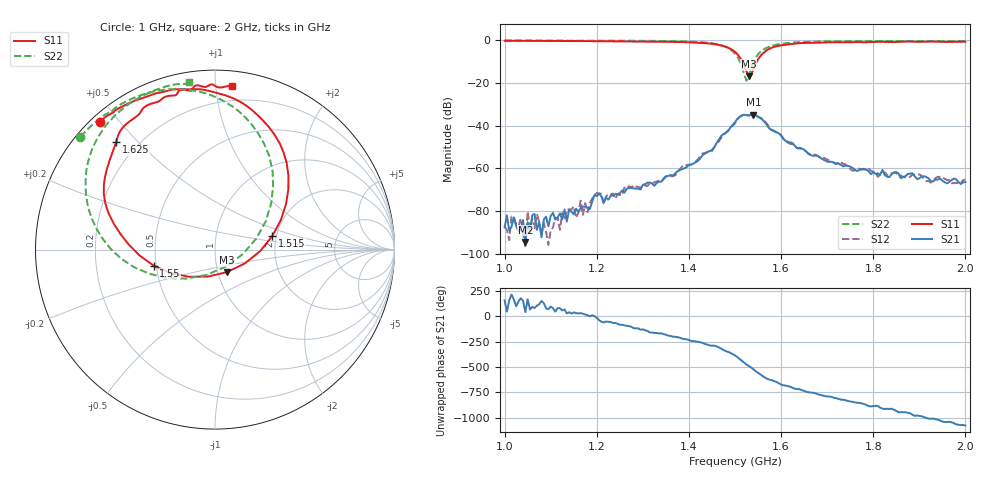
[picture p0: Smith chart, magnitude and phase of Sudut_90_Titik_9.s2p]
# Hz S RI R 50
! CMT, C1220, 16058040, 17.2.0/1
! Date: 14/08/2018 11:55:29
! Data: Format (Calibration Info)
! Freq  S11: Re/Im (F2)  S21: Re/Im (F2)  S12: Re/Im (F2)  S22: Re/Im (F2)
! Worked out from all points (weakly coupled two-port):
!   201 points, 1 GHz to 2 GHz, reference 50 ohm
!   highest |S21| = -34.79 dB at 1.54 GHz (marker M1); lowest = -94.3 dB at 1.045 GHz (marker M2)
!   lowest |S11| = -16.9 dB at 1.53 GHz (marker M3), VSWR 1.33, Z = 55.2 - j14.2 ohm
!   |S11| at or under -10 dB: 1.516 GHz to 1.548 GHz (31.88 MHz wide, 2.08 % of centre)
!   |S22| runs from -19.0 to -0.2 dB; largest |S21 - S12| = 0.00079
!   S11 on the Smith chart (normalised r, x): 1 GHz: 0.03, +0.44; 1.515 GHz: 1.90, +0.32; 1.55 GHz: 0.48, -0.10; 1.625 GHz: 0.12, +0.43; 2 GHz: 0.10, +1.10
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1e9  -0.6431 0.7105  -3.87e-05 1.69e-05  9.34e-06 -4.26e-05  -0.7501 0.6269
1.045e9  -0.6082 0.7405  1.49e-05 1.24e-05  -1.53e-05 -1.01e-06  -0.7185 0.6606
1.16e9  -0.4845 0.8136  8.74e-05 4.25e-05  7.81e-05 4.97e-05  -0.623 0.7452
1.165e9  -0.4785 0.8164  0.000102 6.05e-05  0.000176 1.94e-05  -0.6178 0.7487
1.17e9  -0.4712 0.8196  0.000118 5.01e-05  5.3e-05 6.34e-05  -0.6124 0.752
1.185e9  -0.4463 0.8297  0.000112 -3.13e-06  0.000138 7.23e-05  -0.5952 0.7614
1.2e9  -0.4285 0.8356  0.000217 -5.74e-05  0.000231 -0.000132  -0.5784 0.7655
1.215e9  -0.4157 0.8403  7.37e-05 -0.00014  8.7e-05 -0.000121  -0.5716 0.7736
1.225e9  -0.401 0.8451  0.000107 -0.000154  0.000161 -0.000203  -0.5623 0.784
1.335e9  -0.214 0.893  -0.000484 -8.03e-05  -0.000511 -5.96e-05  -0.3958 0.866
1.45e9  0.183 0.7957  0.000903 0.00242  0.00113 0.00246  0.0272 0.8387
1.5e9  0.4087 0.3365  0.0108 -0.00536  0.0101 -0.00503  0.3238 0.3515
1.515e9  0.3198 0.0756  0.00293 -0.0169  0.0035 -0.017  0.2289 0.0601
1.525e9  0.1661 -0.0773  -0.00794 -0.0157  -0.00789 -0.0158  0.0584 -0.0955
1.53e9  0.0667 -0.1256  -0.0112 -0.0132  -0.0112 -0.0133  -0.0484 -0.1415
1.54e9  -0.1451 -0.1515  -0.0174 -0.00534  -0.0173 -0.00542  -0.2701 -0.1582
1.55e9  -0.3418 -0.0894  -0.0153 0.00519  -0.0155 0.00468  -0.4534 -0.0967
1.58e9  -0.6108 0.2574  0.00017 0.00779  0.000558 0.00805  -0.7012 0.2161
1.625e9  -0.5514 0.5979  0.00379 0.000985  0.00355 0.000981  -0.6976 0.5218
1.67e9  -0.4395 0.7404  0.00162 -0.00114  0.00177 -0.00122  -0.6207 0.6741
1.835e9  -0.1443 0.8855  -0.000611 0.000157  -0.000682 0.000176  -0.3703 0.873
2e9  0.094 0.9107  0.000482 2.72e-05  0.000555 2.91e-05  -0.147 0.9311
